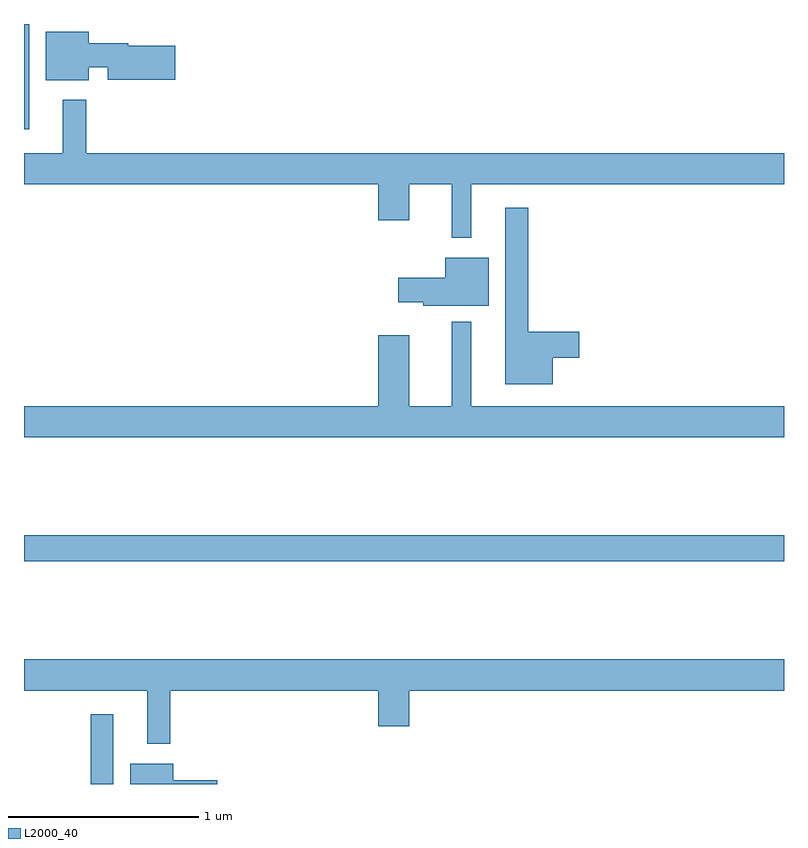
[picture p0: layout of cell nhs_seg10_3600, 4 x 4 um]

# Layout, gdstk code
import gdstk
lib = gdstk.Library(unit=1e-6, precision=1e-09)
def R(c, l, rs):  # rectangles x0, y0, x1, y1
    for r in rs: c.add(gdstk.rectangle(r[:2], r[2:], *l))
def P(c, l, *ps):  # polygons
    for p in ps: c.add(gdstk.Polygon(p, *l))
L2000_40 = (2000, 40)

nhs_seg10_3600 = lib.new_cell('nhs_seg10_3600')
R(nhs_seg10_3600, L2000_40, [(307.35,1290.5,307.471,1290.868), (307,1291.672,311,1291.808), (307,1293.945,307.027,1294.5)])
P(nhs_seg10_3600, L2000_40, [(307.342,1294.272),(307.442,1294.272),(307.442,1294.207),(307.795,1294.207),(307.795,1294.385),(307.548,1294.385),(307.548,1294.4),(307.342,1294.4),(307.342,1294.459),(307.115,1294.459),(307.115,1294.205),(307.342,1294.205)],
  [(309.355,1293.656),(311,1293.656),(311,1293.82),(307.327,1293.82),(307.327,1294.102),(307.205,1294.102),(307.205,1293.82),(307,1293.82),(307,1293.656),(308.864,1293.656),(308.864,1293.468),(309.028,1293.468),(309.028,1293.656),(309.251,1293.656),(309.251,1293.375),(309.355,1293.375)],
  [(309.784,1292.744),(309.922,1292.744),(309.922,1292.879),(309.655,1292.879),(309.655,1293.532),(309.533,1293.532),(309.533,1292.603),(309.784,1292.603)],
  [(309.445,1293.271),(309.218,1293.271),(309.218,1293.165),(308.97,1293.165),(308.97,1293.035),(309.102,1293.035),(309.102,1293.017),(309.445,1293.017)],
  [(311,1292.488),(309.355,1292.488),(309.355,1292.932),(309.251,1292.932),(309.251,1292.488),(309.028,1292.488),(309.028,1292.863),(308.864,1292.863),(308.864,1292.488),(307,1292.488),(307,1292.324),(311,1292.324)],
  [(307.771,1290.992),(308.864,1290.992),(308.864,1290.804),(309.028,1290.804),(309.028,1290.992),(311,1290.992),(311,1291.156),(307,1291.156),(307,1290.992),(307.649,1290.992),(307.649,1290.711),(307.771,1290.711)],
  [(308.017,1290.519),(307.786,1290.519),(307.786,1290.607),(307.559,1290.607),(307.559,1290.5),(308.017,1290.5)])

lib.write_gds('nhs_seg10_3600.gds')
